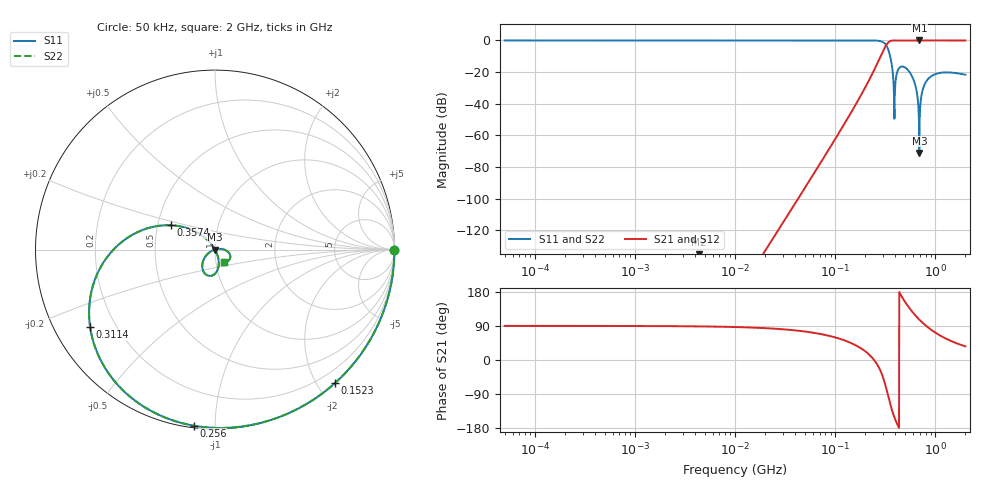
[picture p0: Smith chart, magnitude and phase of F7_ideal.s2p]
! Created with skrf 2.2.0 (http://scikit-rf.org).
# MHz S RI R 50.0
! Port[1] = P1
! Port[2] = P2
!freq ReS11 ImS11 ReS21 ImS21 ReS12 ImS12 ReS22 ImS22
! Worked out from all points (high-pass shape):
!   2001 points, 50 kHz to 2 GHz, reference 50 ohm
!   highest |S21| = 0.00 dB at 693.1 MHz (marker M1); lowest = -198.8 dB at 4.399 MHz (marker M2)
!   |S21| within 3 dB of the highest: 323.4 MHz to end of sweep
!   lowest |S11| = -71.1 dB at 693.1 MHz (marker M3), VSWR 1.00, Z = 50 + j0.00796 ohm
!   |S11| at or under -10 dB: 354.5 MHz to end of sweep
!   |S22| runs from -71.1 to 0.0 dB; largest |S21 - S12| = 9.2e-16
!   S11 on the Smith chart (normalised r, x): 50 kHz: open; 152.3 MHz: 0.00, -2.24; 256 MHz: 0.01, -0.89; 311.4 MHz: 0.11, -0.28; 357.4 MHz: 0.59, +0.17; 2 GHz: 1.09, -0.15
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0.05  1 -0.000258  3.37e-24 2.18e-20  3.57e-24 2.18e-20  1 -0.000258
0.2934364  1 -0.00151  2.29e-19 1.51e-16  2.29e-19 1.51e-16  1 -0.00151
1.712999  1 -0.00883  9.06e-15 1.03e-12  9.06e-15 1.03e-12  1 -0.00883
4.398862  0.9997 -0.0227  2.6e-12 1.15e-10  2.6e-12 1.15e-10  0.9997 -0.0227
10  0.9987 -0.0515  3.59e-10 6.96e-09  3.59e-10 6.96e-09  0.9987 -0.0515
58.68728  0.9538 -0.3005  1.5e-05 4.76e-05  1.5e-05 4.76e-05  0.9538 -0.3005
70.27147  0.9334 -0.3587  4.47e-05 0.000116  4.47e-05 0.000116  0.9334 -0.3587
152.3104  0.6676 -0.7444  0.00527 0.00472  0.00527 0.00472  0.6676 -0.7444
255.9943  -0.1192 -0.9809  0.1525 -0.0185  0.1525 -0.0185  -0.1192 -0.9809
311.4358  -0.6961 -0.4301  0.3022 -0.489  0.3022 -0.489  -0.6961 -0.4301
342.5997  -0.4605 0.0824  -0.1557 -0.87  -0.1557 -0.87  -0.4605 0.0824
357.4335  -0.2463 0.1357  -0.4632 -0.8405  -0.4632 -0.8405  -0.2463 0.1357
376.8821  -0.0592 0.0689  -0.7555 -0.6488  -0.7555 -0.6488  -0.0592 0.0689
393.2003  0.00646 -0.0128  -0.8923 -0.4513  -0.8923 -0.4513  0.00646 -0.0128
451.2743  -0.0187 -0.1453  -0.9811 0.1262  -0.9811 0.1262  -0.0187 -0.1453
566.7413  -0.0655 -0.0609  -0.6783 0.7294  -0.6783 0.7294  -0.0655 -0.0609
626.7646  -0.0371 -0.0205  -0.4827 0.8747  -0.4827 0.8747  -0.0371 -0.0205
667.9082  -0.0136 -0.00521  -0.3568 0.9341  -0.3568 0.9341  -0.0136 -0.00521
693.1448  0.000268 7.96e-05  -0.2846 0.9587  -0.2846 0.9587  0.000268 7.96e-05
778.8371  0.0393 0.00277  -0.0701 0.9968  -0.0701 0.9968  0.0393 0.00277
913.0143  0.0731 -0.0134  0.1804 0.9808  0.1804 0.9808  0.0731 -0.0134
2000  0.0487 -0.067  0.8063 0.5857  0.8063 0.5857  0.0487 -0.067
